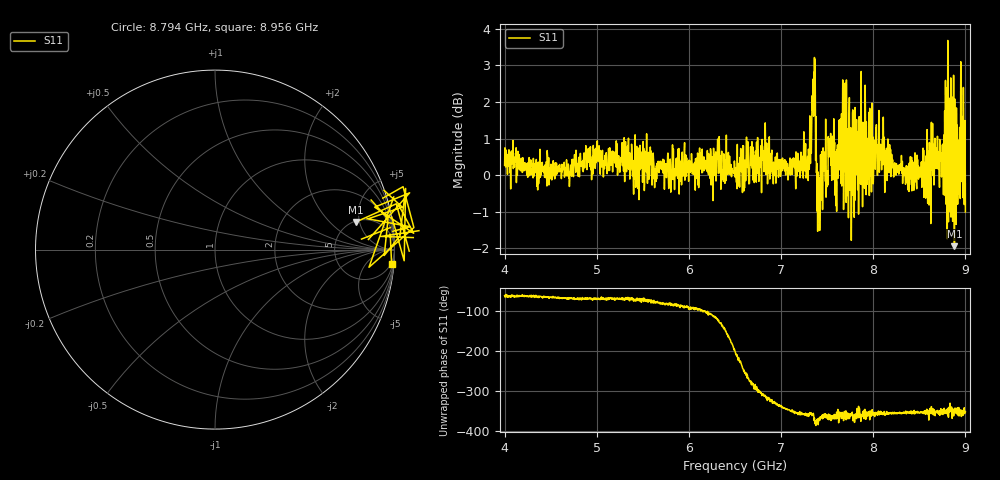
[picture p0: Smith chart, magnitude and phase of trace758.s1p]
! Created with skrf 1.8.0 (http://scikit-rf.org).
# Hz S RI R 50.0
!freq ReS11 ImS11
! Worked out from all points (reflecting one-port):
!   1601 points, 4 GHz to 9 GHz, reference 50 ohm
!   lowest |S11| = -1.9 dB at 8.881 GHz (marker M1), VSWR 8.99, Z = 258 + j220 ohm
!   phase of S11 starts at -60 deg and turns -293 deg over the sweep
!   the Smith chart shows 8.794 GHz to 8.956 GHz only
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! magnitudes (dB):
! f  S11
! 4 GHz  0.3
! 4.625 GHz  0.1
! 5.25 GHz  0.1
! 5.875 GHz  0.2
! 6.331 GHz  0.6
! 6.5 GHz  0.0
! 6.806 GHz  0.4
! 6.928 GHz  0.3
! 7.125 GHz  0.3
! 7.294 GHz  -0.1
! 7.356 GHz  2.8
! 7.409 GHz  -0.4
! 7.538 GHz  1.1
! 7.6 GHz  -0.2
! 7.65 GHz  1.5
! 7.75 GHz  -0.2
! 7.769 GHz  0.0
! 7.822 GHz  0.7
! 7.956 GHz  -0.6
! 8.012 GHz  0.8
! 8.375 GHz  -0.4
! 8.603 GHz  0.1
! 8.656 GHz  0.8
! 8.738 GHz  0.6
! 8.784 GHz  2.6
! 8.881 GHz  -1.9
! 8.972 GHz  0.6
! 9 GHz  -1.0
